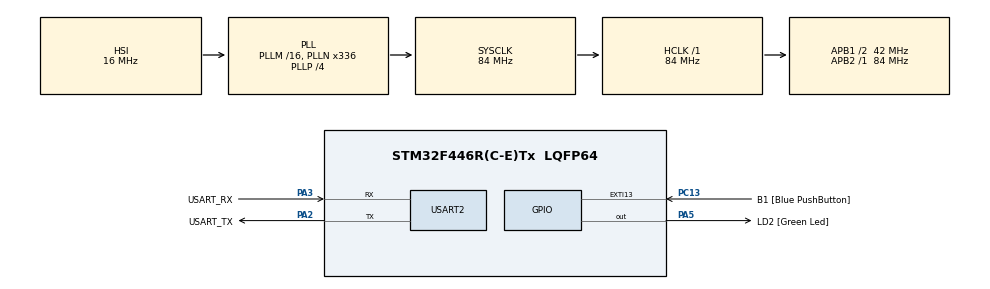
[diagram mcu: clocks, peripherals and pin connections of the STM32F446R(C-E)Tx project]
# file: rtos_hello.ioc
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Mcu.Family=STM32F4
Mcu.Name=STM32F446R(C-E)Tx
Mcu.Package=LQFP64
NVIC.PriorityGroup=NVIC_PRIORITYGROUP_0
NVIC.TIM6_DAC_IRQn=true\:0\:0\:false\:false\:true\:false\:true\:true
NVIC.TimeBase=TIM6_DAC_IRQn
NVIC.TimeBaseIP=TIM6
PA13.GPIO_Label=TMS
PA13.Mode=Serial_Wire
PA13.Signal=SYS_JTMS-SWDIO
PA14.GPIO_Label=TCK
PA14.Mode=Serial_Wire
PA14.Signal=SYS_JTCK-SWCLK
PA2.GPIO_Label=USART_TX
PA2.Mode=Asynchronous
PA2.Signal=USART2_TX
PA3.GPIO_Label=USART_RX
PA3.Mode=Asynchronous
PA3.Signal=USART2_RX
PA5.GPIO_Label=LD2 [Green Led]
PA5.Signal=GPIO_Output
PB3.GPIO_Label=SWO
PB3.Signal=SYS_JTDO-SWO
PC13.GPIO_Label=B1 [Blue PushButton]
PC13.GPIO_ModeDefaultEXTI=GPIO_MODE_IT_FALLING
PC13.Signal=GPXTI13
PC14-OSC32_IN.Mode=LSE-External-Oscillator
PC14-OSC32_IN.Signal=RCC_OSC32_IN
PC15-OSC32_OUT.Mode=LSE-External-Oscillator
PC15-OSC32_OUT.Signal=RCC_OSC32_OUT
PH0-OSC_IN.Mode=HSE-External-Oscillator
PH0-OSC_IN.Signal=RCC_OSC_IN
PH1-OSC_OUT.Mode=HSE-External-Oscillator
PH1-OSC_OUT.Signal=RCC_OSC_OUT
ProjectManager.HeapSize=0x200
ProjectManager.StackSize=0x400
ProjectManager.TargetToolchain=STM32CubeIDE
RCC.48MHZClocksFreq_Value=84000000
RCC.AHBFreq_Value=84000000
RCC.APB1CLKDivider=RCC_HCLK_DIV2
RCC.APB1Freq_Value=42000000
RCC.APB1TimFreq_Value=84000000
RCC.APB2Freq_Value=84000000
RCC.APB2TimFreq_Value=84000000
RCC.CortexFreq_Value=84000000
RCC.FLatency-AdvancedSettings=FLASH_LATENCY_2
RCC.HCLKFreq_Value=84000000
RCC.HSE_VALUE=8000000
RCC.HSI_VALUE=16000000
RCC.PLLN=336
RCC.PLLP=RCC_PLLP_DIV4
RCC.SYSCLKFreq_VALUE=84000000
RCC.SYSCLKSource=RCC_SYSCLKSOURCE_PLLCLK
RCC.USBFreq_Value=168000000
RCC.VCOOutputFreq_Value=336000000
USART2.VirtualMode=VM_ASYNC
VP_SYS_VS_tim6.Mode=TIM6
board=NUCLEO-F446RE

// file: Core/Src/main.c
/* USER CODE BEGIN Header */
/**
  ******************************************************************************
  * @file           : main.c
  * @brief          : Main program body
  ******************************************************************************
  * @attention
  *
  * Copyright (c) 2026 STMicroelectronics.
  * All rights reserved.
  *
  * This software is licensed under terms that can be found in the LICENSE file
  * in the root directory of this software component.
  * If no LICENSE file comes with this software, it is provided AS-IS.
  *
  ******************************************************************************
  */
/* USER CODE END Header */
#include <string.h>
#include <stdio.h>
#include "main.h"

/* USER CODE BEGIN Includes */
#include "FreeRTOS.h"
#include "task.h"
/* USER CODE END Includes */

UART_HandleTypeDef huart2;

void SystemClock_Config(void);
static void MX_GPIO_Init(void);
static void MX_USART2_UART_Init(void);
/* USER CODE BEGIN PFP */
static void task1_func(void *pvParameters);
static void task2_func(void *pvParameters);

/* USER CODE END PFP */

int main(void)
{

	/* USER CODE BEGIN 1 */
	TaskHandle_t task1_handle;
	TaskHandle_t task2_handle;
	BaseType_t  xReturned;
	/* USER CODE END 1 */

  /* MCU Configuration--------------------------------------------------------*/

  /* Reset of all peripherals, Initializes the Flash interface and the Systick. */
  HAL_Init();

  /* Configure the system clock */
  SystemClock_Config();

  /* Initialize all configured peripherals */
  MX_GPIO_Init();
  MX_USART2_UART_Init();

  /* USER CODE BEGIN 2 */
  xReturned = xTaskCreate(
		       task1_func,          /* Function that implements the task. */
                  "TASK1",             /* Text name for the task. */
                  200,         /* Stack size in words, not bytes. */
                  "WELCOME TASK1",       /* Parameter passed into the task. */
                  2,   /* Priority at which the task is created. */
				  &task1_handle );         /* Used to pass out the created task's handle. */
  configASSERT(xReturned == pdPASS);

  xReturned = xTaskCreate(
 		       task2_func,          /* Function that implements the task. */
                   "TASK2",             /* Text name for the task. */
                   200,         /* Stack size in words, not bytes. */
                   "WELCOME TASK2",       /* Parameter passed into the task. */
                   2,   /* Priority at which the task is created. */
 				  &task2_handle );         /* Used to pass out the created task's handle. */
   configASSERT(xReturned == pdPASS);
 /* USER CODE END 2 */
   vTaskStartScheduler();

  /* Infinite loop */
  while (1)
  {

  }
}

void SystemClock_Config(void)
{
  RCC_OscInitTypeDef RCC_OscInitStruct = {0};
  RCC_ClkInitTypeDef RCC_ClkInitStruct = {0};

  /** Configure the main internal regulator output voltage
  */
  __HAL_RCC_PWR_CLK_ENABLE();
  __HAL_PWR_VOLTAGESCALING_CONFIG(PWR_REGULATOR_VOLTAGE_SCALE3);

  /** Initializes the RCC Oscillators according to the specified parameters
  * in the RCC_OscInitTypeDef structure.
  */
  RCC_OscInitStruct.OscillatorType = RCC_OSCILLATORTYPE_HSI;
  RCC_OscInitStruct.HSIState = RCC_HSI_ON;
  RCC_OscInitStruct.HSICalibrationValue = RCC_HSICALIBRATION_DEFAULT;
  RCC_OscInitStruct.PLL.PLLState = RCC_PLL_ON;
  RCC_OscInitStruct.PLL.PLLSource = RCC_PLLSOURCE_HSI;
  RCC_OscInitStruct.PLL.PLLM = 16;
  RCC_OscInitStruct.PLL.PLLN = 336;
  RCC_OscInitStruct.PLL.PLLP = RCC_PLLP_DIV4;
  RCC_OscInitStruct.PLL.PLLQ = 2;
  RCC_OscInitStruct.PLL.PLLR = 2;
  if (HAL_RCC_OscConfig(&RCC_OscInitStruct) != HAL_OK)
  {
    Error_Handler();
  }

  /** Initializes the CPU, AHB and APB buses clocks
  */
  RCC_ClkInitStruct.ClockType = RCC_CLOCKTYPE_HCLK|RCC_CLOCKTYPE_SYSCLK
                              |RCC_CLOCKTYPE_PCLK1|RCC_CLOCKTYPE_PCLK2;
  RCC_ClkInitStruct.SYSCLKSource = RCC_SYSCLKSOURCE_PLLCLK;
  RCC_ClkInitStruct.AHBCLKDivider = RCC_SYSCLK_DIV1;
  RCC_ClkInitStruct.APB1CLKDivider = RCC_HCLK_DIV2;
  RCC_ClkInitStruct.APB2CLKDivider = RCC_HCLK_DIV1;

  if (HAL_RCC_ClockConfig(&RCC_ClkInitStruct, FLASH_LATENCY_2) != HAL_OK)
  {
    Error_Handler();
  }
}

static void MX_USART2_UART_Init(void)
{

  huart2.Instance = USART2;
  huart2.Init.BaudRate = 115200;
  huart2.Init.WordLength = UART_WORDLENGTH_8B;
  huart2.Init.StopBits = UART_STOPBITS_1;
  huart2.Init.Parity = UART_PARITY_NONE;
  huart2.Init.Mode = UART_MODE_TX_RX;
  huart2.Init.HwFlowCtl = UART_HWCONTROL_NONE;
  huart2.Init.OverSampling = UART_OVERSAMPLING_16;
  if (HAL_UART_Init(&huart2) != HAL_OK)
  {
    Error_Handler();
  }

}

static void MX_GPIO_Init(void)
{
  GPIO_InitTypeDef GPIO_InitStruct = {0};

  /* GPIO Ports Clock Enable */
  __HAL_RCC_GPIOC_CLK_ENABLE();
  __HAL_RCC_GPIOH_CLK_ENABLE();
  __HAL_RCC_GPIOA_CLK_ENABLE();
  __HAL_RCC_GPIOB_CLK_ENABLE();

  /*Configure GPIO pin Output Level */
  HAL_GPIO_WritePin(LD2_GPIO_Port, LD2_Pin, GPIO_PIN_RESET);

  /*Configure GPIO pin : B1_Pin */
  GPIO_InitStruct.Pin = B1_Pin;
  GPIO_InitStruct.Mode = GPIO_MODE_IT_FALLING;
  GPIO_InitStruct.Pull = GPIO_NOPULL;
  HAL_GPIO_Init(B1_GPIO_Port, &GPIO_InitStruct);

  /*Configure GPIO pin : LD2_Pin */
  GPIO_InitStruct.Pin = LD2_Pin;
  GPIO_InitStruct.Mode = GPIO_MODE_OUTPUT_PP;
  GPIO_InitStruct.Pull = GPIO_NOPULL;
  GPIO_InitStruct.Speed = GPIO_SPEED_FREQ_LOW;
  HAL_GPIO_Init(LD2_GPIO_Port, &GPIO_InitStruct);

}

/* USER CODE BEGIN 4 */
static void task1_func(void* parameters)
{
	while(1){
		    printf("%s\r\n", (char*)parameters);
			vTaskDelay(pdMS_TO_TICKS(500)); // Print every 500ms
		}
}

static void task2_func(void* parameters)
{
	while(1){
		    printf("%s\r\n", (char*)parameters);
			vTaskDelay(pdMS_TO_TICKS(500)); // Print every 500ms and block
		}
}

/* USER CODE END 4 */

void HAL_TIM_PeriodElapsedCallback(TIM_HandleTypeDef *htim)
{
  if (htim->Instance == TIM6)
  {
    HAL_IncTick();
  }
}

void Error_Handler(void)
{
  __disable_irq();
  while (1)
  {
  }
}
